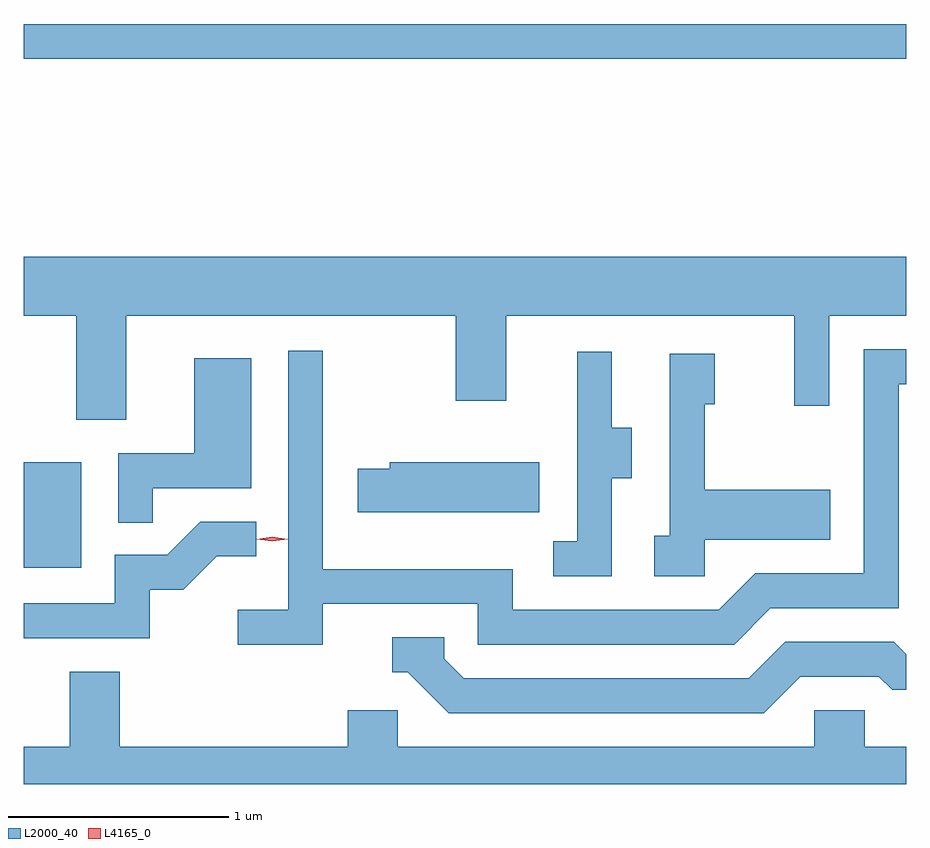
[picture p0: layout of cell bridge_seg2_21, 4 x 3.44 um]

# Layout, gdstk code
import gdstk
lib = gdstk.Library(unit=1e-6, precision=1e-09)
def R(c, l, rs):  # rectangles x0, y0, x1, y1
    for r in rs: c.add(gdstk.rectangle(r[:2], r[2:], *l))
def P(c, l, *ps):  # polygons
    for p in ps: c.add(gdstk.Polygon(p, *l))
L2000_40 = (2000, 40)
L4165_0 = (4165, 0)

bridge_seg2_21 = lib.new_cell('bridge_seg2_21')
R(bridge_seg2_21, L2000_40, [(1569.063,1107.116,1569.324,1107.594), (1569.063,1109.421,1573.063,1109.579)])
P(bridge_seg2_21, L2000_40, [(1569.529,1108.256),(1571.021,1108.256),(1571.021,1107.871),(1571.249,1107.871),(1571.249,1108.256),(1572.556,1108.256),(1572.556,1107.848),(1572.714,1107.848),(1572.714,1108.256),(1573.063,1108.256),(1573.063,1108.524),(1569.063,1108.524),(1569.063,1108.256),(1569.301,1108.256),(1569.301,1107.786),(1569.529,1107.786)],
  [(1570.419,1106.951),(1571.121,1106.951),(1571.121,1106.766),(1572.282,1106.766),(1572.447,1106.931),(1573.029,1106.931),(1573.029,1107.946),(1573.063,1107.946),(1573.063,1108.104),(1572.871,1108.104),(1572.871,1107.089),(1572.379,1107.089),(1572.214,1106.924),(1571.279,1106.924),(1571.279,1107.109),(1570.419,1107.109),(1570.419,1108.098),(1570.261,1108.098),(1570.261,1106.924),(1570.033,1106.924),(1570.033,1106.766),(1570.419,1106.766)],
  [(1571.729,1107.521),(1571.819,1107.521),(1571.819,1107.749),(1571.729,1107.749),(1571.729,1108.093),(1571.571,1108.093),(1571.571,1107.234),(1571.463,1107.234),(1571.463,1107.076),(1571.729,1107.076)],
  [(1572.149,1107.241),(1572.719,1107.241),(1572.719,1107.469),(1572.149,1107.469),(1572.149,1107.856),(1572.194,1107.856),(1572.194,1108.084),(1571.991,1108.084),(1571.991,1107.259),(1571.921,1107.259),(1571.921,1107.076),(1572.149,1107.076)],
  [(1569.649,1107.476),(1570.094,1107.476),(1570.094,1108.064),(1569.836,1108.064),(1569.836,1107.634),(1569.491,1107.634),(1569.491,1107.318),(1569.649,1107.318)],
  [(1571.399,1107.594),(1570.721,1107.594),(1570.721,1107.564),(1570.576,1107.564),(1570.576,1107.366),(1571.399,1107.366)],
  [(1569.634,1107.016),(1569.787,1107.016),(1569.937,1107.166),(1570.118,1107.166),(1570.118,1107.324),(1569.864,1107.324),(1569.714,1107.174),(1569.476,1107.174),(1569.476,1106.954),(1569.063,1106.954),(1569.063,1106.796),(1569.634,1106.796)],
  [(1572.582,1106.621),(1572.939,1106.621),(1572.999,1106.561),(1573.063,1106.561),(1573.063,1106.723),(1573.007,1106.779),(1572.514,1106.779),(1572.349,1106.614),(1571.057,1106.614),(1570.969,1106.702),(1570.969,1106.799),(1570.733,1106.799),(1570.733,1106.641),(1570.804,1106.641),(1570.989,1106.456),(1572.417,1106.456)],
  [(1573.063,1106.304),(1572.874,1106.304),(1572.874,1106.469),(1572.646,1106.469),(1572.646,1106.304),(1570.759,1106.304),(1570.759,1106.469),(1570.531,1106.469),(1570.531,1106.304),(1569.499,1106.304),(1569.499,1106.644),(1569.271,1106.644),(1569.271,1106.304),(1569.063,1106.304),(1569.063,1106.135),(1573.063,1106.135)])
P(bridge_seg2_21, L4165_0, [(1570.189,1107.235),(1570.12,1107.244),(1570.12,1107.245),(1570.12,1107.245),(1570.189,1107.255),(1570.259,1107.245),(1570.259,1107.245),(1570.259,1107.244)])

lib.write_gds('bridge_seg2_21.gds')
